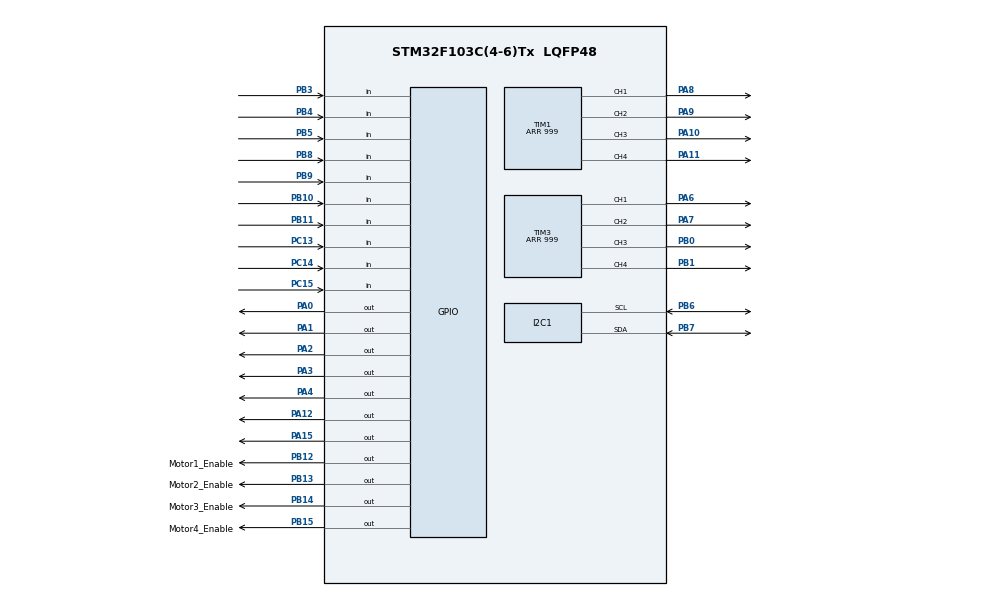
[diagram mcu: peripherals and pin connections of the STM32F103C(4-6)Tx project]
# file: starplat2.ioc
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Mcu.Family=STM32F1
Mcu.Name=STM32F103C(4-6)Tx
Mcu.Package=LQFP48
NVIC.PriorityGroup=NVIC_PRIORITYGROUP_4
PA0-WKUP.Signal=GPIO_Output
PA1.Signal=GPIO_Output
PA10.Signal=S_TIM1_CH3
PA11.Signal=S_TIM1_CH4
PA12.Signal=GPIO_Output
PA13.Mode=Serial_Wire
PA13.Signal=SYS_JTMS-SWDIO
PA14.Mode=Serial_Wire
PA14.Signal=SYS_JTCK-SWCLK
PA15.Signal=GPIO_Output
PA2.Signal=GPIO_Output
PA3.Signal=GPIO_Output
PA4.Signal=GPIO_Output
PA6.Signal=S_TIM3_CH1
PA7.Signal=S_TIM3_CH2
PA8.Signal=S_TIM1_CH1
PA9.Signal=S_TIM1_CH2
PB0.Signal=S_TIM3_CH3
PB1.Signal=S_TIM3_CH4
PB10.GPIO_Mode=GPIO_MODE_INPUT
PB10.Signal=GPIO_Input
PB11.Signal=GPIO_Input
PB12.GPIO_Label=Motor1_Enable
PB12.GPIO_Speed=GPIO_SPEED_FREQ_HIGH
PB12.PinState=GPIO_PIN_SET
PB12.Signal=GPIO_Output
PB13.GPIO_Label=Motor2_Enable
PB13.GPIO_Speed=GPIO_SPEED_FREQ_HIGH
PB13.PinState=GPIO_PIN_SET
PB13.Signal=GPIO_Output
PB14.GPIO_Label=Motor3_Enable
PB14.GPIO_Speed=GPIO_SPEED_FREQ_HIGH
PB14.PinState=GPIO_PIN_SET
PB14.Signal=GPIO_Output
PB15.GPIO_Label=Motor4_Enable
PB15.GPIO_Speed=GPIO_SPEED_FREQ_HIGH
PB15.PinState=GPIO_PIN_SET
PB15.Signal=GPIO_Output
PB3.Signal=GPIO_Input
PB4.Signal=GPIO_Input
PB5.Signal=GPIO_Input
PB6.Mode=I2C
PB6.Signal=I2C1_SCL
PB7.Mode=I2C
PB7.Signal=I2C1_SDA
PB8.Signal=GPIO_Input
PB9.Signal=GPIO_Input
PC13-TAMPER-RTC.Signal=GPIO_Input
PC14-OSC32_IN.Signal=GPIO_Input
PC15-OSC32_OUT.Signal=GPIO_Input
PD0-OSC_IN.Mode=HSE-External-Oscillator
PD0-OSC_IN.Signal=RCC_OSC_IN
PD1-OSC_OUT.Mode=HSE-External-Oscillator
PD1-OSC_OUT.Signal=RCC_OSC_OUT
ProjectManager.HeapSize=0x200
ProjectManager.StackSize=0x400
ProjectManager.TargetToolchain=STM32CubeIDE
RCC.APB1Freq_Value=8000000
RCC.APB2Freq_Value=8000000
SH.S_TIM1_CH1.0=TIM1_CH1,PWM Generation1 CH1
SH.S_TIM1_CH2.0=TIM1_CH2,PWM Generation2 CH2
SH.S_TIM1_CH3.0=TIM1_CH3,PWM Generation3 CH3
SH.S_TIM1_CH4.0=TIM1_CH4,PWM Generation4 CH4
SH.S_TIM3_CH1.0=TIM3_CH1,PWM Generation1 CH1
SH.S_TIM3_CH2.0=TIM3_CH2,PWM Generation2 CH2
SH.S_TIM3_CH3.0=TIM3_CH3,PWM Generation3 CH3
SH.S_TIM3_CH4.0=TIM3_CH4,PWM Generation4 CH4
TIM1.Channel-PWM\ Generation1\ CH1=TIM_CHANNEL_1
TIM1.Channel-PWM\ Generation2\ CH2=TIM_CHANNEL_2
TIM1.Channel-PWM\ Generation3\ CH3=TIM_CHANNEL_3
TIM1.Channel-PWM\ Generation4\ CH4=TIM_CHANNEL_4
TIM1.OCMode_PWM-PWM\ Generation2\ CH2=TIM_OCMODE_PWM2
TIM1.OCMode_PWM-PWM\ Generation3\ CH3=TIM_OCMODE_PWM2
TIM1.OCMode_PWM-PWM\ Generation4\ CH4=TIM_OCMODE_PWM2
TIM1.Period=999
TIM3.Channel-PWM\ Generation1\ CH1=TIM_CHANNEL_1
TIM3.Channel-PWM\ Generation2\ CH2=TIM_CHANNEL_2
TIM3.Channel-PWM\ Generation3\ CH3=TIM_CHANNEL_3
TIM3.Channel-PWM\ Generation4\ CH4=TIM_CHANNEL_4
TIM3.OCMode_PWM-PWM\ Generation1\ CH1=TIM_OCMODE_PWM2
TIM3.OCMode_PWM-PWM\ Generation2\ CH2=TIM_OCMODE_PWM2
TIM3.OCMode_PWM-PWM\ Generation3\ CH3=TIM_OCMODE_PWM2
TIM3.OCMode_PWM-PWM\ Generation4\ CH4=TIM_OCMODE_PWM2
TIM3.Period=999
VP_TIM1_VS_ClockSourceINT.Mode=Internal
VP_TIM2_VS_ClockSourceINT.Mode=Internal
VP_TIM3_VS_ClockSourceINT.Mode=Internal
board=custom

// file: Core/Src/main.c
/* USER CODE BEGIN Header */
/**
 ******************************************************************************
 * @file           : main.c
 * @brief          : Main program body
 ******************************************************************************
 * @attention
 *
 * Copyright (c) 2025 STMicroelectronics.
 * All rights reserved.
 *
 * This software is licensed under terms that can be found in the LICENSE file
 * in the root directory of this software component.
 * If no LICENSE file comes with this software, it is provided AS-IS.
 *
 ******************************************************************************
 */
/* USER CODE END Header */
#include "main.h"
#include "gpio.h"
#include "i2c.h"
#include "stm32f1xx_hal.h"
#include "tim.h"

/* USER CODE BEGIN Includes */
#include "algo.h"
#include "conveyor.h"
#include "definitions.h"
#include "mahony.h"
#include "math.h"
#include "motor.h"
#include "movement.h"
#include "mpu6050.h"
#include "pid.h"
#include <stdint.h>

/* USER CODE END Includes */

/* USER CODE BEGIN PV */
int testPID = 0;
float q[4] = {1.0, 0.0, 0.0, 0.0};
float A_cal[6] = {0.0,   0.0,   0.0,
                  1.000, 1.000, 1.000}; // 0..2 offset xyz, 3..5 scale xyz
float G_off[3];                         // Gyroscope offsets
float yaw, pitch, roll;                 // Euler angle output
float prev_yaw = 0;

int counter = 0;
PID_Controller pid;
// Scaled data as vectors
float Axyz[3];
float Gxyz[3];
uint8_t moveCount = 0;
uint8_t calCount = 0;
int corrections[4] = {0};
// Raw data
short ax = 0, ay = 0, az = 0;
short gx = 0, gy = 0, gz = 0;
BotInstruction curr, prev;
bool calibrated;
extern FlameColor map[5][5];
/* USER CODE END PV */

void SystemClock_Config(void);

int main(void) {

  /* MCU Configuration--------------------------------------------------------*/

  /* Reset of all peripherals, Initializes the Flash interface and the Systick.
   */
  HAL_Init();

  /* Configure the system clock */
  SystemClock_Config();

  /* Initialize all configured peripherals */
  MX_GPIO_Init();
  MX_I2C1_Init();
  MX_TIM1_Init();
  MX_TIM3_Init();
  MX_TIM2_Init();
  /* USER CODE BEGIN 2 */
  Motor_Init();
  MPU_Init();
  // // Raw data
  // short ax = 0, ay = 0, az = 0;
  // short gx = 0, gy = 0, gz = 0;

  // // Scaled data as vectors
  // float Axyz[3];
  // float Gxyz[3];

  // blue yellow,
  // grey red
  // red orange
  // For arduino connection PA0, PA1, PA2
  HAL_GPIO_WritePin(GPIOA, GPIO_PIN_0, 0);
  HAL_GPIO_WritePin(GPIOA, GPIO_PIN_1, 0);
  HAL_GPIO_WritePin(GPIOA, GPIO_PIN_2, 1);
  // HAL_Delay(2000);
  HAL_GPIO_WritePin(GPIOA, GPIO_PIN_0, 0);
  HAL_GPIO_WritePin(GPIOA, GPIO_PIN_1, 0);
  HAL_GPIO_WritePin(GPIOA, GPIO_PIN_2, 0);
  // HAL_Delay(2000);
  // up
  HAL_GPIO_WritePin(GPIOA, GPIO_PIN_0, 1);
  HAL_GPIO_WritePin(GPIOA, GPIO_PIN_1, 1);
  HAL_GPIO_WritePin(GPIOA, GPIO_PIN_2, 0);

  // down
  // HAL_GPIO_WritePin(GPIOA, GPIO_PIN_0, 1);
  // HAL_GPIO_WritePin(GPIOA, GPIO_PIN_1, 0);
  // HAL_GPIO_WritePin(GPIOA, GPIO_PIN_2, 1);
  HAL_GPIO_WritePin(GPIOA, GPIO_PIN_12, GPIO_PIN_SET); // Test tt motor
  HAL_GPIO_WritePin(GPIOA, GPIO_PIN_15, GPIO_PIN_RESET);
  // calibrateGyro(G_off);
  // calibrateAcc(A_cal);

  // BotInstruction instructions[50] = {movr,  movf,  movl, movb,  rotl,
  //                                    rotr,  rotb,  take, puth0, puth1,
  //                                    puth2, puth3, stop};
  // BotInstruction instructions[50] = {movf, stop};
  PID_Init(&pid, 10, 0, 0);
  BotInstruction instructions[50] = {movf, stop};
  uint8_t index = 0;
  // Initialize bot struct
  Bot bot;
  bot.x = 2;
  bot.y = 0;
  bot.orientation = Bottom;

  // optimizeTorchPlacementStrategy(map, &bot, instructions);

  curr = instructions[index];
  WORM_UP_SENSOR();
  // Start only when the sensor bot is centered
  readGreyscale();
  while (sensor_left[1] == 1 && sensor_left[1] == 1 && sensor_back[2] == 1) {
    readGreyscale();
    HAL_Delay(10);
  }
  /* USER CODE END 2 */

  /* Infinite loop */
  while (1) {

    /* USER CODE BEGIN 3 */
    updateYawPitchRoll();
    yaw += -2;
    readGreyscale();
    switch (curr) {
    case movr:
      moveRight(150);
      if (moveCount++ >= 50) {
        if (checkLeftEnd()) {
          moveCount = 0;
          curr = instructions[++index];
        }
      }
      break;
    case movf:
      if (calibrated || prev == movr || prev == movl) {
        // moveForward(100);
        // motorForward(100, 0);
        Set_Motor1_RPM(105);
        Set_Motor2_RPM(105);
        Set_Motor3_RPM(100);
        Set_Motor4_RPM(100);
        if (moveCount++ >= 50) {
          if (checkForwardEnd()) {
            moveCount = 0;
            curr = instructions[++index];
            calibrated = false;
          }
        }
      } else
        curr = calibrate;
      break;
    case movl:
      testPID = (PID_Left());
      moveLeft(70);
      if (moveCount++ >= 50) {
        if (checkLeftEnd()) {
          moveCount = 0;
          curr = instructions[++index];
        }
      }
      break;
    case movb:
      moveBackward(200);
      if (moveCount++ >= 50) {
        if (checkForwardEnd()) {
          moveCount = 0;
          curr = instructions[++index];
        }
      }
      break;

    case rotl:
      motorCCW(100);
      if (moveCount++ >= 40) {
        if (sensor_back[2] == 1) {
          moveCount = 0;
          curr = instructions[++index];
        }
      }
      break;
    case rotr:
      motorCW(100);
      if (moveCount++ >= 40) {
        if (sensor_back[2] == 1) {
          moveCount = 0;
          curr = instructions[++index];
        }
      }
      break;
    case rotb:
      motorCCW(100);
      if (moveCount++ >= 40) {
        if (sensor_back[2] == 1) {
          moveCount = 0;
          curr = rotl; // Effectively, doing 2, back to back rotations
        }
      }
      break;

    case take:
      CONVEYOR_TAKE();
      curr = movf;
      break;

    case puth0:
      moveForward(100);
      HAL_Delay(1500);
      moveLeft(100);
      HAL_Delay(200);
      stopMotor();
      CONVEYOR_PUT();
      HAL_Delay(1500);
      curr = instructions[++index];
      break;
    case puth1:
      moveRight(100);
      HAL_Delay(200);
      stopMotor();
      CONVEYOR_PUT();
      HAL_Delay(1500);
      curr = instructions[++index];
      break;
    case puth2:
      moveRight(100);
      HAL_Delay(200);
      stopMotor();
      CONVEYOR_PUT();
      HAL_Delay(1500);
      curr = instructions[++index];
      break;
    case puth3:
      moveForward(100);
      HAL_Delay(1500);
      moveRight(100);
      HAL_Delay(200);
      stopMotor();
      CONVEYOR_PUT();
      HAL_Delay(1500);
      curr = instructions[++index];
      break;

    case stop:
      stopMotor();
      break;

    case calibrate:
      // if (isLeftEmpty() || isRightEmpty()) {
      //   moveBackward(100);
      // while (1) {
      // if (isBackCentered() && calCount++ >= 15) {
      //   resetQuaternions();
      //   curr = instructions[++index];
      //   calCount = 0;
      // } else {
      // readGreyscale();
      // corrections[0] = 0;
      // corrections[1] = 0;
      // corrections[2] = 0;
      // corrections[3] = 0;
      // PID_Calibrate(corrections);
      // Set_Motor1_RPM(corrections[0]);
      // Set_Motor2_RPM(corrections[1]);
      // Set_Motor3_RPM(corrections[2]);
      // Set_Motor4_RPM(corrections[3]);
      // }
      //   HAL_Delay(10);
      // }
      // calibrateOrientation();
      // if (calCount++ < 40) {
      //   moveLeft(100);
      // } else {
      //   moveRight(100);
      //   if (checkLeftEnd()) {
      //     moveCount = 0;
      //     curr = movf;
      //     resetQuaternions();
      //     calibrated = true;
      //   }
      // }
      if (!isLeftRightSame()) {
        int mult = getOrientationError();
        rotateCW(100 * mult);
        curr = instructions[++index];
      }

      break;
    }

    counter++; // Delay without interrupting other processes
    // Update_PID(ay, ax, gz, dt, alpha, &pid, &kf);
    HAL_Delay(10);
  }
  /* USER CODE END 3 */
}

void SystemClock_Config(void) {
  RCC_OscInitTypeDef RCC_OscInitStruct = {0};
  RCC_ClkInitTypeDef RCC_ClkInitStruct = {0};

  /** Initializes the RCC Oscillators according to the specified parameters
   * in the RCC_OscInitTypeDef structure.
   */
  RCC_OscInitStruct.OscillatorType = RCC_OSCILLATORTYPE_HSI;
  RCC_OscInitStruct.HSIState = RCC_HSI_ON;
  RCC_OscInitStruct.HSICalibrationValue = RCC_HSICALIBRATION_DEFAULT;
  RCC_OscInitStruct.PLL.PLLState = RCC_PLL_NONE;
  if (HAL_RCC_OscConfig(&RCC_OscInitStruct) != HAL_OK) {
    Error_Handler();
  }

  /** Initializes the CPU, AHB and APB buses clocks
   */
  RCC_ClkInitStruct.ClockType = RCC_CLOCKTYPE_HCLK | RCC_CLOCKTYPE_SYSCLK |
                                RCC_CLOCKTYPE_PCLK1 | RCC_CLOCKTYPE_PCLK2;
  RCC_ClkInitStruct.SYSCLKSource = RCC_SYSCLKSOURCE_HSI;
  RCC_ClkInitStruct.AHBCLKDivider = RCC_SYSCLK_DIV1;
  RCC_ClkInitStruct.APB1CLKDivider = RCC_HCLK_DIV1;
  RCC_ClkInitStruct.APB2CLKDivider = RCC_HCLK_DIV1;

  if (HAL_RCC_ClockConfig(&RCC_ClkInitStruct, FLASH_LATENCY_0) != HAL_OK) {
    Error_Handler();
  }
}

void Error_Handler(void) {
  /* USER CODE BEGIN Error_Handler_Debug */
  /* User can add his own implementation to report the HAL error return state
   */
  __disable_irq();
  while (1) {
  }
  /* USER CODE END Error_Handler_Debug */
}

#ifdef USE_FULL_ASSERT
/**
 * @brief  Reports the name of the source file and the source line number
 *         where the assert_param error has occurred.
 * @param  file: pointer to the source file name
 * @param  line: assert_param error line source number
 * @retval None
 */
void assert_failed(uint8_t *file, uint32_t line) {
  /* USER CODE BEGIN 6 */
  /* User can add his own implementation to report the file name and line
     number, ex: printf("Wrong parameters value: file %s on line %d\r\n",
     file, line) */
  /* USER CODE END 6 */
}
#endif /* USE_FULL_ASSERT */
